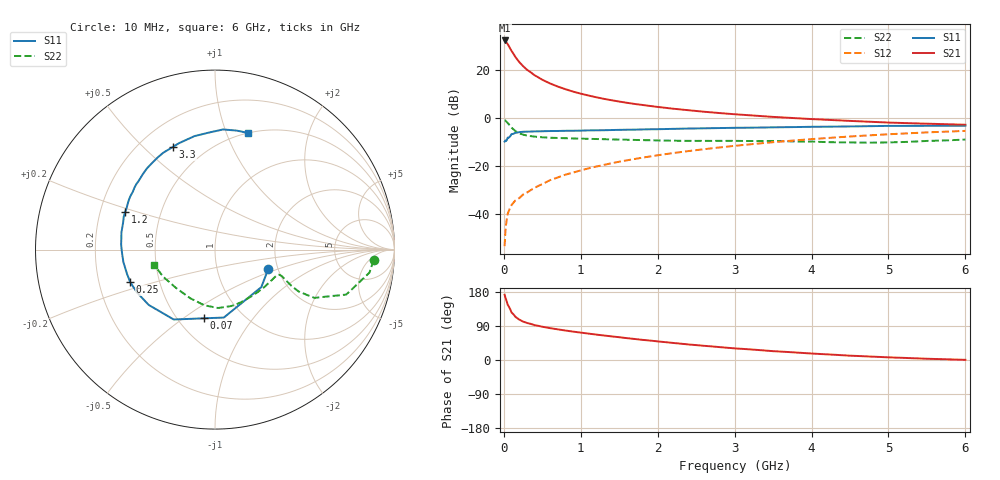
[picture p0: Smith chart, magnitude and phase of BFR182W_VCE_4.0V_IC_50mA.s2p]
! Infineon Technologies  Discrete & RF Semiconductors
! BFR182W
! VCE =  4.0 V,  IC =  50 mA
! Common Emitter S-Parameters:  Jan 2017
# GHz  S  MA  R  50
!  f  S11  S21  S12  S22
! GHz  MAG  ANG  MAG  ANG  MAG  ANG  MAG  ANG
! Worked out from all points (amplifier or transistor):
!   77 points, 10 MHz to 6 GHz, reference 50 ohm
!   highest |S21| = 32.1 dB at 10 MHz (marker M1)
!   |S21| within 3 dB of that: start of sweep to 76.14 MHz
!   unconditionally stable (mu >= 1): start of sweep to 12.03 MHz; 275.6 MHz to 2.529 GHz
!   at 130 MHz: K = 0.69, MSG = 30.8 dB, |S12| = -35.2 dB
!   at 2.2 GHz: K = 1.04, MAG = 8.0 dB, |S12| = -14.8 dB
!   at 6 GHz: K = 0.95, MSG = 1.3 dB, |S12| = -5.6 dB
!   S11 on the Smith chart (normalised r, x): 10 MHz: 1.77, -0.43; 70 MHz: 0.67, -0.60; 250 MHz: 0.34, -0.17; 1.2 GHz: 0.31, +0.18; 3.3 GHz: 0.33, +0.62; 6 GHz: 0.50, +1.19
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0.01  0.3157 -20.3  40.28 172.2  0.0021 76.7  0.8854 -3.8
0.02  0.3321 -39.0  39.64 165.1  0.0042 77.9  0.8698 -8.5
0.05  0.3818 -82.6  33.94 145.8  0.0099 63.6  0.7729 -18.9
0.07  0.388 -99.3  29.72 139.2  0.0119 62.5  0.709 -21.3
0.1  0.4523 -120.6  24.44 125.3  0.015 61.5  0.6162 -25.9
0.15  0.4812 -140.2  18.24 113.9  0.0188 61.8  0.5216 -26.6
0.2  0.496 -151.3  14.33 106.7  0.021 61.8  0.4717 -25.4
0.25  0.5059 -158.9  11.77 101.4  0.0249 62.2  0.4415 -24.0
0.3  0.5085 -164.5  9.919 97.8  0.0274 64.9  0.4212 -22.9
0.4  0.5152 -172.2  7.588 92.0  0.0344 68.1  0.4005 -21.6
0.5  0.5186 -178.2  6.117 87.8  0.0412 71.0  0.3882 -21.4
0.7  0.5255 173.3  4.426 80.9  0.0565 74.1  0.3754 -22.2
0.9  0.5314 166.2  3.469 74.9  0.0715 75.1  0.3671 -24.5
1.1  0.5404 160.2  2.877 69.7  0.0873 75.3  0.3608 -27.5
1.2  0.5426 157.5  2.649 67.1  0.0954 75.2  0.3574 -29.1
1.6  0.5581 147.3  2.03 57.7  0.1286 74.2  0.3454 -37.0
2.1  0.5765 135.9  1.595 47.1  0.173 71.6  0.3315 -49.2
3.1  0.6133 116.3  1.143 29.4  0.267 63.2  0.3256 -76.7
3.3  0.6182 112.4  1.086 26.5  0.2866 61.2  0.3244 -81.8
4.1  0.6437 98.8  0.914 16.0  0.3651 52.6  0.3116 -103.9
5.1  0.6709 84.8  0.778 6.3  0.457 40.7  0.3066 -139.0
6  0.6754 74.3  0.709 0.4  0.5277 29.8  0.3485 -165.7
